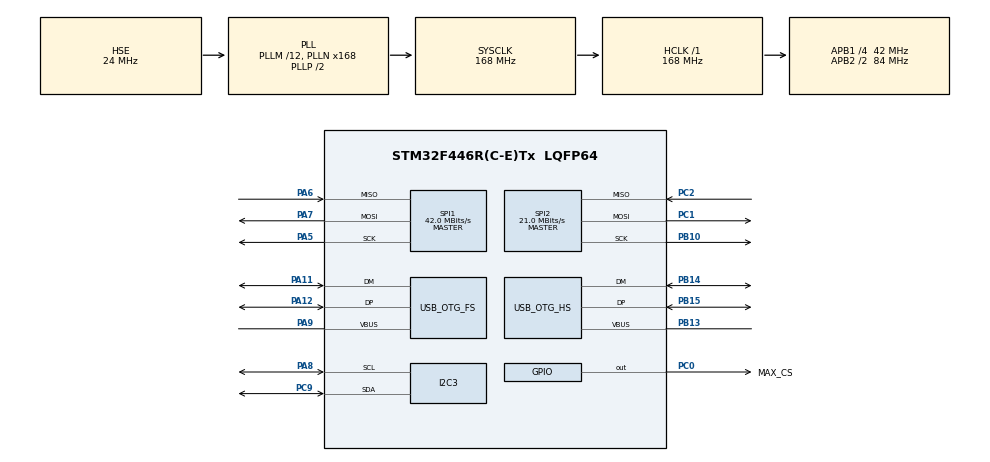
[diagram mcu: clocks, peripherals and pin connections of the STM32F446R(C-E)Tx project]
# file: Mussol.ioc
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Mcu.Family=STM32F4
PA6.Mode=Full_Duplex_Master
PH0-OSC_IN.Signal=RCC_OSC_IN
RCC.CortexFreq_Value=168000000
SPI1.VirtualType=VM_MASTER
SPI2.VirtualType=VM_MASTER
PB10.Mode=Full_Duplex_Master
PC0.GPIO_Label=MAX_CS
PA11.Mode=Host_Only
PB13.Signal=USB_OTG_HS_VBUS
PB15.Signal=USB_OTG_HS_DP
RCC.SYSCLKSource=RCC_SYSCLKSOURCE_PLLCLK
ProjectManager.StackSize=0x400
PA12.Signal=USB_OTG_FS_DP
SPI1.Direction=SPI_DIRECTION_2LINES
RCC.HCLKFreq_Value=168000000
RCC.APB2TimFreq_Value=168000000
USB_HOST.USBH_USE_OS-AUDIO_FS=0
SPI1.CalculateBaudRate=42.0 MBits/s
RCC.AHBFreq_Value=168000000
SPI2.BaudRatePrescaler=SPI_BAUDRATEPRESCALER_2
PH0-OSC_IN.Mode=HSE-External-Oscillator
RCC.HSE_VALUE=24000000
USB_OTG_FS.phy_itface=HCD_PHY_EMBEDDED
PB3.Mode=Trace_Asynchronous_SW
PA14.Mode=Trace_Asynchronous_SW
PB14.Mode=Device_Only_FS
PC9.Mode=I2C
SPI2.CalculateBaudRate=21.0 MBits/s
PA8.Signal=I2C3_SCL
VP_FREERTOS_VS_CMSIS_V1.Mode=CMSIS_V1
PH1-OSC_OUT.Mode=HSE-External-Oscillator
Mcu.Package=LQFP64
PA6.Signal=SPI1_MISO
SPI2.Mode=SPI_MODE_MASTER
VP_USB_HOST_VS_USB_HOST_AUDIO_FS.Mode=AUDIO_FS
USB_OTG_FS.VirtualMode=Host_Only
USB_DEVICE.CLASS_NAME_HS=AUDIO
USB_DEVICE.VirtualMode-AUDIO_HS=Audio
USB_DEVICE.VirtualModeHS=Audio_HS
RCC.APB2CLKDivider=RCC_HCLK_DIV2
RCC.APB1TimFreq_Value=84000000
SPI2.Direction=SPI_DIRECTION_2LINES
PB13.Mode=Activate_VBUS_FS
SPI1.BaudRatePrescaler=SPI_BAUDRATEPRESCALER_2
PA5.Mode=Full_Duplex_Master
FREERTOS.Tasks01=defaultTask,0,128,StartDefaultTask,Default,NULL,Dynamic,NULL,NULL
PA7.Mode=Full_Duplex_Master
PC2.Signal=SPI2_MISO
PC2.Mode=Full_Duplex_Master
PC0.Signal=GPIO_Output
RCC.APB1CLKDivider=RCC_HCLK_DIV4
USB_OTG_HS.VirtualMode-Device_Only_FS=Device_Only_FS
PA13.Signal=SYS_JTMS-SWDIO
PA9.Mode=Activate_VBUS
ProjectManager.TargetToolchain=Makefile
PA9.Signal=USB_OTG_FS_VBUS
VP_USB_DEVICE_VS_USB_DEVICE_AUDIO_HS.Mode=AUDIO_HS
RCC.USBFreq_Value=48000000
PB10.Signal=SPI2_SCK
PB14.Signal=USB_OTG_HS_DM
PA5.Signal=SPI1_SCK
board=custom
RCC.VCOOutputFreq_Value=336000000
USB_HOST.VirtualModeFS=Audio
PB15.Mode=Device_Only_FS
RCC.APB2Freq_Value=84000000
SPI1.Mode=SPI_MODE_MASTER
USB_HOST.USBH_HandleTypeDef-AUDIO_FS=hUsbHostFS
PH1-OSC_OUT.Signal=RCC_OSC_OUT
PA13.Mode=Trace_Asynchronous_SW
Mcu.Name=STM32F446R(C-E)Tx
PB3.Signal=SYS_JTDO-SWO
RCC.SYSCLKFreq_VALUE=168000000
PA12.Mode=Host_Only
PA11.Signal=USB_OTG_FS_DM
PA14.Signal=SYS_JTCK-SWCLK
ProjectManager.HeapSize=0x200
RCC.PLLQ=7
NVIC.PriorityGroup=NVIC_PRIORITYGROUP_4
RCC.PLLM=12
RCC.PLLN=168
PA8.Mode=I2C
PC9.Signal=I2C3_SDA
RCC.APB1Freq_Value=42000000
PC1.Signal=SPI2_MOSI
PC1.Mode=Full_Duplex_Master
PA7.Signal=SPI1_MOSI

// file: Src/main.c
/* USER CODE BEGIN Header */
/**
  ******************************************************************************
  * @file           : main.c
  * @brief          : Main program body
  ******************************************************************************
  * @attention
  *
  * <h2><center>&copy; Copyright (c) 2021 STMicroelectronics.
  * All rights reserved.</center></h2>
  *
  * This software component is licensed by ST under BSD 3-Clause license,
  * the "License"; You may not use this file except in compliance with the
  * License. You may obtain a copy of the License at:
  *                        opensource.org/licenses/BSD-3-Clause
  *
  ******************************************************************************
  */
/* USER CODE END Header */
#include "main.h"
#include "cmsis_os.h"

/* USER CODE BEGIN Includes */

#include "errorhandlers.h"

/* USER CODE END Includes */

I2C_HandleTypeDef hi2c3;

SPI_HandleTypeDef hspi1;
SPI_HandleTypeDef hspi2;

osThreadId defaultTaskHandle;

void SystemClock_Config(void);
static void MX_GPIO_Init(void);
static void MX_I2C3_Init(void);
static void MX_SPI1_Init(void);
static void MX_SPI2_Init(void);
void StartDefaultTask(void const * argument);

/* USER CODE BEGIN PFP */

void setup(void);
void loop(void);

/* USER CODE END PFP */

int main(void)
{

  /* MCU Configuration--------------------------------------------------------*/

  /* Reset of all peripherals, Initializes the Flash interface and the Systick. */
  HAL_Init();

  /* Configure the system clock */
  SystemClock_Config();

  /* Initialize all configured peripherals */
  MX_GPIO_Init();
  MX_I2C3_Init();
  MX_SPI1_Init();
  MX_SPI2_Init();

  /* Create the thread(s) */
  /* definition and creation of defaultTask */
  osThreadDef(defaultTask, StartDefaultTask, osPriorityNormal, 0, 128);
  defaultTaskHandle = osThreadCreate(osThread(defaultTask), NULL);

  /* Start scheduler */
  osKernelStart();

  /* We should never get here as control is now taken by the scheduler */
  /* Infinite loop */
  while (1)
  {

  }
}

void SystemClock_Config(void)
{
  RCC_OscInitTypeDef RCC_OscInitStruct = {0};
  RCC_ClkInitTypeDef RCC_ClkInitStruct = {0};
  RCC_PeriphCLKInitTypeDef PeriphClkInitStruct = {0};

  /** Configure the main internal regulator output voltage
  */
  __HAL_RCC_PWR_CLK_ENABLE();
  __HAL_PWR_VOLTAGESCALING_CONFIG(PWR_REGULATOR_VOLTAGE_SCALE1);
  /** Initializes the RCC Oscillators according to the specified parameters
  * in the RCC_OscInitTypeDef structure.
  */
  RCC_OscInitStruct.OscillatorType = RCC_OSCILLATORTYPE_HSE;
  RCC_OscInitStruct.HSEState = RCC_HSE_ON;
  RCC_OscInitStruct.PLL.PLLState = RCC_PLL_ON;
  RCC_OscInitStruct.PLL.PLLSource = RCC_PLLSOURCE_HSE;
  RCC_OscInitStruct.PLL.PLLM = 12;
  RCC_OscInitStruct.PLL.PLLN = 168;
  RCC_OscInitStruct.PLL.PLLP = RCC_PLLP_DIV2;
  RCC_OscInitStruct.PLL.PLLQ = 7;
  RCC_OscInitStruct.PLL.PLLR = 2;
  if (HAL_RCC_OscConfig(&RCC_OscInitStruct) != HAL_OK)
  {
    Error_Handler();
  }
  /** Initializes the CPU, AHB and APB buses clocks
  */
  RCC_ClkInitStruct.ClockType = RCC_CLOCKTYPE_HCLK|RCC_CLOCKTYPE_SYSCLK
                              |RCC_CLOCKTYPE_PCLK1|RCC_CLOCKTYPE_PCLK2;
  RCC_ClkInitStruct.SYSCLKSource = RCC_SYSCLKSOURCE_PLLCLK;
  RCC_ClkInitStruct.AHBCLKDivider = RCC_SYSCLK_DIV1;
  RCC_ClkInitStruct.APB1CLKDivider = RCC_HCLK_DIV4;
  RCC_ClkInitStruct.APB2CLKDivider = RCC_HCLK_DIV2;

  if (HAL_RCC_ClockConfig(&RCC_ClkInitStruct, FLASH_LATENCY_5) != HAL_OK)
  {
    Error_Handler();
  }
  PeriphClkInitStruct.PeriphClockSelection = RCC_PERIPHCLK_CLK48;
  PeriphClkInitStruct.Clk48ClockSelection = RCC_CLK48CLKSOURCE_PLLQ;
  if (HAL_RCCEx_PeriphCLKConfig(&PeriphClkInitStruct) != HAL_OK)
  {
    Error_Handler();
  }
}

static void MX_I2C3_Init(void)
{

  hi2c3.Instance = I2C3;
  hi2c3.Init.ClockSpeed = 100000;
  hi2c3.Init.DutyCycle = I2C_DUTYCYCLE_2;
  hi2c3.Init.OwnAddress1 = 0;
  hi2c3.Init.AddressingMode = I2C_ADDRESSINGMODE_7BIT;
  hi2c3.Init.DualAddressMode = I2C_DUALADDRESS_DISABLE;
  hi2c3.Init.OwnAddress2 = 0;
  hi2c3.Init.GeneralCallMode = I2C_GENERALCALL_DISABLE;
  hi2c3.Init.NoStretchMode = I2C_NOSTRETCH_DISABLE;
  if (HAL_I2C_Init(&hi2c3) != HAL_OK)
  {
    Error_Handler();
  }

}

static void MX_SPI1_Init(void)
{

  /* SPI1 parameter configuration*/
  hspi1.Instance = SPI1;
  hspi1.Init.Mode = SPI_MODE_MASTER;
  hspi1.Init.Direction = SPI_DIRECTION_2LINES;
  hspi1.Init.DataSize = SPI_DATASIZE_8BIT;
  hspi1.Init.CLKPolarity = SPI_POLARITY_LOW;
  hspi1.Init.CLKPhase = SPI_PHASE_1EDGE;
  hspi1.Init.NSS = SPI_NSS_SOFT;
  hspi1.Init.BaudRatePrescaler = SPI_BAUDRATEPRESCALER_2;
  hspi1.Init.FirstBit = SPI_FIRSTBIT_MSB;
  hspi1.Init.TIMode = SPI_TIMODE_DISABLE;
  hspi1.Init.CRCCalculation = SPI_CRCCALCULATION_DISABLE;
  hspi1.Init.CRCPolynomial = 10;
  if (HAL_SPI_Init(&hspi1) != HAL_OK)
  {
    Error_Handler();
  }

}

static void MX_SPI2_Init(void)
{

  /* SPI2 parameter configuration*/
  hspi2.Instance = SPI2;
  hspi2.Init.Mode = SPI_MODE_MASTER;
  hspi2.Init.Direction = SPI_DIRECTION_2LINES;
  hspi2.Init.DataSize = SPI_DATASIZE_8BIT;
  hspi2.Init.CLKPolarity = SPI_POLARITY_LOW;
  hspi2.Init.CLKPhase = SPI_PHASE_1EDGE;
  hspi2.Init.NSS = SPI_NSS_SOFT;
  hspi2.Init.BaudRatePrescaler = SPI_BAUDRATEPRESCALER_2;
  hspi2.Init.FirstBit = SPI_FIRSTBIT_MSB;
  hspi2.Init.TIMode = SPI_TIMODE_DISABLE;
  hspi2.Init.CRCCalculation = SPI_CRCCALCULATION_DISABLE;
  hspi2.Init.CRCPolynomial = 10;
  if (HAL_SPI_Init(&hspi2) != HAL_OK)
  {
    Error_Handler();
  }

}

static void MX_GPIO_Init(void)
{
  GPIO_InitTypeDef GPIO_InitStruct = {0};

  /* GPIO Ports Clock Enable */
  __HAL_RCC_GPIOC_CLK_ENABLE();
  __HAL_RCC_GPIOH_CLK_ENABLE();
  __HAL_RCC_GPIOA_CLK_ENABLE();
  __HAL_RCC_GPIOB_CLK_ENABLE();
  __HAL_RCC_GPIOD_CLK_ENABLE();

  /*Configure GPIO pin Output Level */
  HAL_GPIO_WritePin(MAX_CS_GPIO_Port, MAX_CS_Pin, GPIO_PIN_RESET);

  /*Configure GPIO pins : PC13 PC14 PC15 PC3
                           PC4 PC5 PC6 PC7
                           PC8 PC10 PC11 PC12 */
  GPIO_InitStruct.Pin = GPIO_PIN_13|GPIO_PIN_14|GPIO_PIN_15|GPIO_PIN_3
                          |GPIO_PIN_4|GPIO_PIN_5|GPIO_PIN_6|GPIO_PIN_7
                          |GPIO_PIN_8|GPIO_PIN_10|GPIO_PIN_11|GPIO_PIN_12;
  GPIO_InitStruct.Mode = GPIO_MODE_ANALOG;
  GPIO_InitStruct.Pull = GPIO_NOPULL;
  HAL_GPIO_Init(GPIOC, &GPIO_InitStruct);

  /*Configure GPIO pin : MAX_CS_Pin */
  GPIO_InitStruct.Pin = MAX_CS_Pin;
  GPIO_InitStruct.Mode = GPIO_MODE_OUTPUT_PP;
  GPIO_InitStruct.Pull = GPIO_NOPULL;
  GPIO_InitStruct.Speed = GPIO_SPEED_FREQ_LOW;
  HAL_GPIO_Init(MAX_CS_GPIO_Port, &GPIO_InitStruct);

  /*Configure GPIO pins : PA0 PA1 PA2 PA3
                           PA4 PA10 PA15 */
  GPIO_InitStruct.Pin = GPIO_PIN_0|GPIO_PIN_1|GPIO_PIN_2|GPIO_PIN_3
                          |GPIO_PIN_4|GPIO_PIN_10|GPIO_PIN_15;
  GPIO_InitStruct.Mode = GPIO_MODE_ANALOG;
  GPIO_InitStruct.Pull = GPIO_NOPULL;
  HAL_GPIO_Init(GPIOA, &GPIO_InitStruct);

  /*Configure GPIO pins : PB0 PB1 PB2 PB12
                           PB4 PB5 PB6 PB7
                           PB8 PB9 */
  GPIO_InitStruct.Pin = GPIO_PIN_0|GPIO_PIN_1|GPIO_PIN_2|GPIO_PIN_12
                          |GPIO_PIN_4|GPIO_PIN_5|GPIO_PIN_6|GPIO_PIN_7
                          |GPIO_PIN_8|GPIO_PIN_9;
  GPIO_InitStruct.Mode = GPIO_MODE_ANALOG;
  GPIO_InitStruct.Pull = GPIO_NOPULL;
  HAL_GPIO_Init(GPIOB, &GPIO_InitStruct);

  /*Configure GPIO pin : PD2 */
  GPIO_InitStruct.Pin = GPIO_PIN_2;
  GPIO_InitStruct.Mode = GPIO_MODE_ANALOG;
  GPIO_InitStruct.Pull = GPIO_NOPULL;
  HAL_GPIO_Init(GPIOD, &GPIO_InitStruct);

}

void StartDefaultTask(void const * argument)
{
  /* USER CODE BEGIN 5 */
  setup();

  /* Infinite loop */
  for(;;)
  {
    loop();
  }
  /* USER CODE END 5 */
}

void Error_Handler(void)
{
  /* USER CODE BEGIN Error_Handler_Debug */
  /* User can add his own implementation to report the HAL error return state */
#ifdef DEBUG
  __asm__("BKPT");
#else
  NVIC_SystemReset();
#endif
  /* USER CODE END Error_Handler_Debug */
}

#ifdef  USE_FULL_ASSERT
/**
  * @brief  Reports the name of the source file and the source line number
  *         where the assert_param error has occurred.
  * @param  file: pointer to the source file name
  * @param  line: assert_param error line source number
  * @retval None
  */
void assert_failed(uint8_t *file, uint32_t line)
{
  /* USER CODE BEGIN 6 */
  /* User can add his own implementation to report the file name and line number,
     tex: printf("Wrong parameters value: file %s on line %d\r\n", file, line) */
#ifdef DEBUG
  __asm__("BKPT");
#else
  NVIC_SystemReset();
#endif
  /* USER CODE END 6 */
}
#endif /* USE_FULL_ASSERT */

/************************ (C) COPYRIGHT STMicroelectronics *****END OF FILE****/
